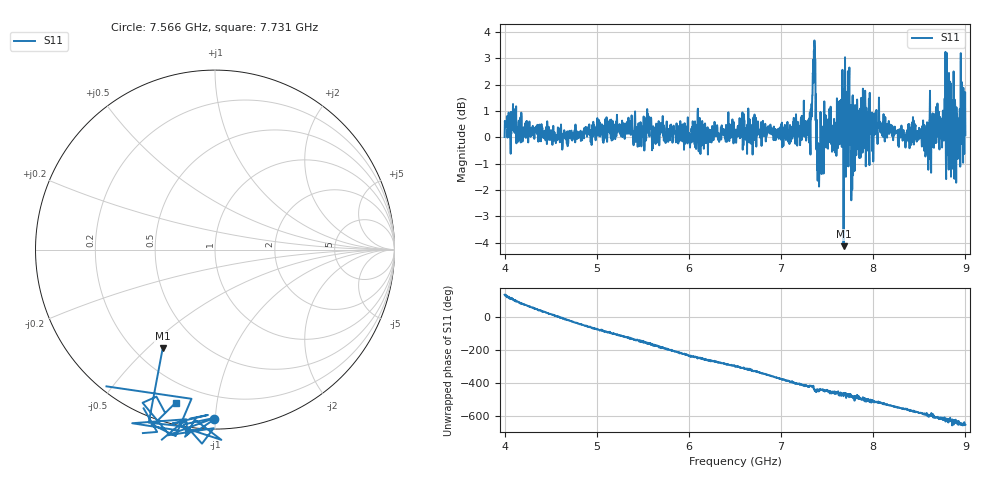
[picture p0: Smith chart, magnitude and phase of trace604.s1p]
! Created with skrf 1.8.0 (http://scikit-rf.org).
# Hz S RI R 50.0
!freq ReS11 ImS11
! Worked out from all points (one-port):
!   1601 points, 4 GHz to 9 GHz, reference 50 ohm
!   lowest |S11| = -4.1 dB at 7.678 GHz (marker M1), VSWR 4.28, Z = 15.6 - j27.9 ohm
!   |S11| at or under -10 dB: nowhere
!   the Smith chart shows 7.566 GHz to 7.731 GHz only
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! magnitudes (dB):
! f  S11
! 4 GHz  0.0
! 4.1 GHz  0.7
! 4.153 GHz  0.6
! 4.625 GHz  -0.5
! 5.25 GHz  0.1
! 5.875 GHz  0.0
! 6.5 GHz  0.2
! 7.125 GHz  0.2
! 7.294 GHz  0.1
! 7.316 GHz  -0.2
! 7.353 GHz  2.1
! 7.369 GHz  3.0
! 7.4 GHz  -0.6
! 7.416 GHz  -1.0
! 7.491 GHz  -0.4
! 7.578 GHz  0.0
! 7.65 GHz  1.4
! 7.678 GHz  -4.1
! 7.75 GHz  1.0
! 7.784 GHz  0.2
! 7.822 GHz  0.0
! 7.928 GHz  0.8
! 8.375 GHz  -0.1
! 8.581 GHz  -0.4
! 8.819 GHz  -1.2
! 8.919 GHz  0.3
! 8.972 GHz  0.6
! 9 GHz  0.1
